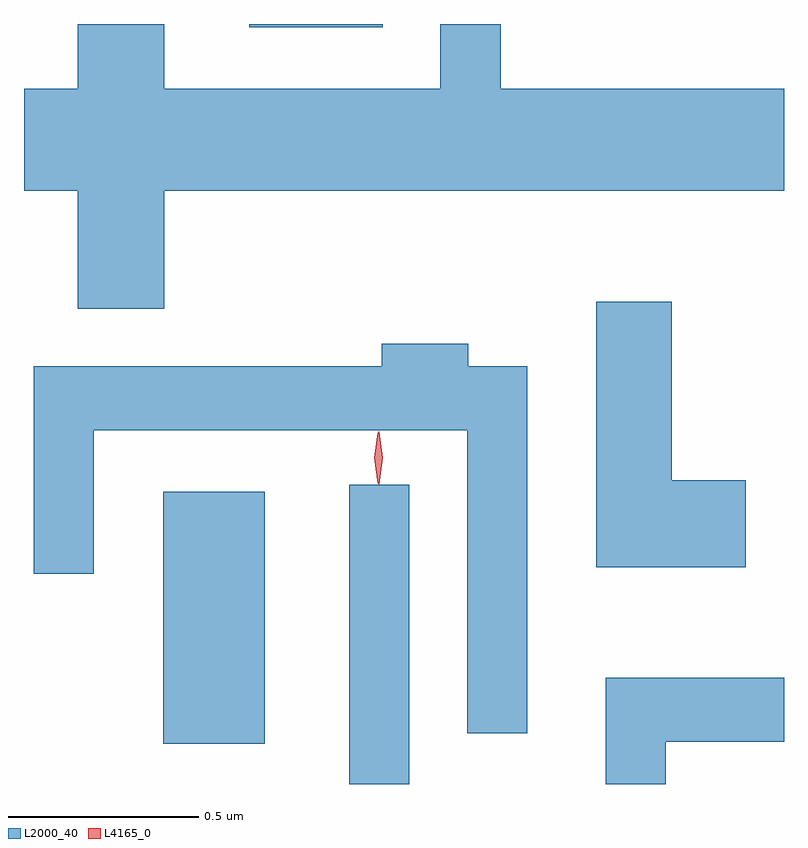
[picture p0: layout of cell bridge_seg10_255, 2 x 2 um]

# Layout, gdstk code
import gdstk
lib = gdstk.Library(unit=1e-6, precision=1e-09)
def R(c, l, rs):  # rectangles x0, y0, x1, y1
    for r in rs: c.add(gdstk.rectangle(r[:2], r[2:], *l))
def P(c, l, *ps):  # polygons
    for p in ps: c.add(gdstk.Polygon(p, *l))
L2000_40 = (2000, 40)
L4165_0 = (4165, 0)

bridge_seg10_255 = lib.new_cell('bridge_seg10_255')
R(bridge_seg10_255, L2000_40, [(1762.356,2096.815,1762.514,2097.603), (1761.866,2096.921,1762.134,2097.584), (1762.093,2098.806,1762.444,2098.815)])
P(bridge_seg10_255, L2000_40, [(1761.869,2098.376),(1763.5,2098.376),(1763.5,2098.644),(1762.754,2098.644),(1762.754,2098.815),(1762.596,2098.815),(1762.596,2098.644),(1761.869,2098.644),(1761.869,2098.815),(1761.641,2098.815),(1761.641,2098.644),(1761.5,2098.644),(1761.5,2098.376),(1761.641,2098.376),(1761.641,2098.066),(1761.869,2098.066)],
  [(1763.399,2097.614),(1763.204,2097.614),(1763.204,2098.084),(1763.006,2098.084),(1763.006,2097.386),(1763.399,2097.386)],
  [(1762.824,2097.914),(1762.669,2097.914),(1762.669,2097.974),(1762.441,2097.974),(1762.441,2097.914),(1761.526,2097.914),(1761.526,2097.368),(1761.684,2097.368),(1761.684,2097.746),(1762.666,2097.746),(1762.666,2096.948),(1762.824,2096.948)],
  [(1763.189,2096.926),(1763.5,2096.926),(1763.5,2097.094),(1763.031,2097.094),(1763.031,2096.815),(1763.189,2096.815)])
P(bridge_seg10_255, L4165_0, [(1762.431,2097.607),(1762.422,2097.674),(1762.431,2097.74),(1762.432,2097.74),(1762.432,2097.74),(1762.442,2097.674),(1762.432,2097.607),(1762.432,2097.607)],
  [(1762.434,2097.604),(1762.434,2097.604),(1762.424,2097.673),(1762.434,2097.742),(1762.434,2097.743),(1762.435,2097.742),(1762.444,2097.673),(1762.435,2097.604)])

lib.write_gds('bridge_seg10_255.gds')
